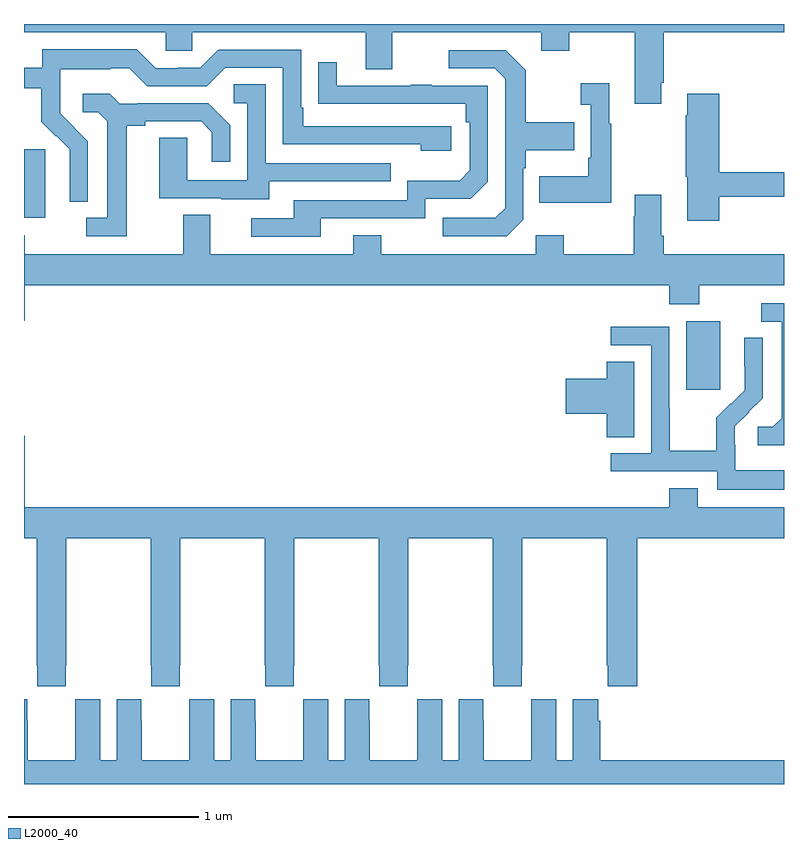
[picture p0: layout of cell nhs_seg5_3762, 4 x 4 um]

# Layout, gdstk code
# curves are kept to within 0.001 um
import gdstk
lib = gdstk.Library(unit=1e-6, precision=1e-09)
def R(c, l, rs):  # rectangles x0, y0, x1, y1
    for r in rs: c.add(gdstk.rectangle(r[:2], r[2:], *l))
def P(c, l, *ps):  # polygons
    for p in ps: c.add(gdstk.Polygon(p, *l))
L2000_40 = (2000, 40)

nhs_seg5_3762 = lib.new_cell('nhs_seg5_3762')
R(nhs_seg5_3762, L2000_40, [(336.485,858.873,336.664,859.234), (333,859.778,333.112,860.139)])
P(nhs_seg5_3762, L2000_40, [(336.355,860.491),(336.368,860.491),(336.368,860.756),(337,860.756),(337,860.799),(333,860.799),(333,860.756),(333.747,860.756),(333.747,860.658),(333.885,860.658),(333.885,860.756),(334.799,860.756),(334.799,860.562),(334.939,860.562),(334.939,860.756),(335.723,860.756),(335.723,860.657),(335.871,860.657),(335.871,860.756),(336.215,860.756),(336.215,860.379),(336.355,860.379)],
  [(333.336,860.182),(333.19,860.33),(333.19,860.427),(333.192,860.427),(333.192,860.561),(333.455,860.561),(333.455,860.565),(333.555,860.565),(333.648,860.472),(333.963,860.472),(334.059,860.568),(334.362,860.568),(334.362,860.166),(335.087,860.166),(335.087,860.132),(335.248,860.132),(335.248,860.262),(334.471,860.262),(334.471,860.359),(334.458,860.359),(334.458,860.664),(334.023,860.664),(333.927,860.568),(333.809,860.568),(333.809,860.565),(333.693,860.565),(333.593,860.665),(333.096,860.665),(333.096,860.568),(333,860.568),(333,860.46),(333.091,860.46),(333.091,860.285),(333.168,860.208),(333.171,860.211),(333.242,860.141),(333.242,860.018),(333.24,860.018),(333.24,859.864),(333.336,859.864)],
  [(335.628,859.77),(335.628,860.039),(335.641,860.039),(335.641,860.135),(335.897,860.135),(335.897,860.283),(335.641,860.283),(335.641,860.555),(335.535,860.661),(335.235,860.661),(335.235,860.565),(335.478,860.565),(335.532,860.511),(335.532,859.83),(335.481,859.779),(335.205,859.779),(335.205,859.683),(335.541,859.683)],
  [(334.561,859.776),(335.112,859.776),(335.112,859.878),(335.352,859.878),(335.442,859.968),(335.442,860.475),(335.147,860.475),(335.147,860.48),(335.035,860.48),(335.035,860.475),(334.645,860.475),(334.645,860.599),(334.549,860.599),(334.549,860.38),(335.326,860.379),(335.326,860.282),(335.346,860.282),(335.346,860.028),(335.293,859.975),(335.016,859.975),(335.016,859.872),(334.421,859.872),(334.421,859.776),(334.197,859.776),(334.197,859.68),(334.561,859.68)],
  [(336.091,860.275),(336.079,860.275),(336.079,860.488),(335.931,860.488),(335.931,860.375),(335.982,860.375),(335.982,860.095),(335.97,860.095),(335.97,859.999),(335.713,859.999),(335.713,859.859),(336.091,859.859)],
  [(334.291,859.971),(334.931,859.971),(334.931,860.067),(334.272,860.067),(334.272,860.483),(334.104,860.483),(334.104,860.382),(334.176,860.382),(334.176,859.977),(333.858,859.977),(333.858,860.201),(333.713,860.201),(333.713,859.881),(334.037,859.881),(334.037,859.877),(334.291,859.877)],
  [(336.659,859.89),(337,859.89),(337,860.018),(336.659,860.018),(336.659,860.431),(336.491,860.431),(336.491,860.318),(336.484,860.318),(336.484,859.995),(336.491,859.995),(336.491,859.764),(336.659,859.764)],
  [(333.541,860.264),(333.637,860.264),(333.637,860.286),(333.932,860.286),(333.989,860.229),(333.989,860.073),(334.086,860.073),(334.086,860.266),(333.97,860.382),(333.598,860.382),(333.598,860.379),(333.504,860.379),(333.452,860.431),(333.309,860.431),(333.309,860.334),(333.39,860.334),(333.437,860.287),(333.437,859.779),(333.327,859.779),(333.327,859.683),(333.541,859.683)],
  [(333.004,859.424),(336.395,859.424),(336.395,859.325),(336.555,859.325),(336.555,859.424),(337,859.424),(337,859.588),(336.368,859.588),(336.368,859.684),(336.355,859.684),(336.355,859.9),(336.215,859.9),(336.215,859.787),(336.208,859.787),(336.208,859.588),(335.841,859.588),(335.841,859.687),(335.694,859.687),(335.694,859.588),(334.881,859.588),(334.881,859.687),(334.733,859.687),(334.733,859.588),(333.979,859.588),(333.979,859.796),(333.839,859.796),(333.839,859.588),(333.003,859.588),(333.003,859.687),(333,859.687),(333,859.236),(333.004,859.236)],
  [(337,859.329),(336.879,859.329),(336.879,859.233),(336.989,859.233),(336.989,858.725),(336.942,858.678),(336.861,858.678),(336.861,858.581),(337,858.581)],
  [(337,858.451),(336.744,858.451),(336.744,858.585),(336.742,858.585),(336.742,858.682),(336.888,858.83),(336.888,859.148),(336.792,859.148),(336.792,858.994),(336.794,858.994),(336.794,858.872),(336.723,858.801),(336.72,858.804),(336.643,858.727),(336.643,858.553),(336.399,858.553),(336.399,858.776),(336.396,858.776),(336.396,859.206),(336.087,859.206),(336.087,859.107),(336.3,859.107),(336.3,858.54),(336.087,858.54),(336.087,858.444),(336.648,858.444),(336.648,858.347),(337,858.347)],
  [(336.211,859.022),(336.068,859.022),(336.068,858.932),(335.85,858.932),(335.85,858.749),(336.068,858.749),(336.068,858.625),(336.211,858.625)],
  [(333.004,858.631),(333,858.631),(333,858.092),(333.067,858.092),(333.067,857.425),(333.069,857.425),(333.069,857.313),(333.219,857.313),(333.219,857.425),(333.222,857.425),(333.222,858.092),(333.667,858.092),(333.667,857.425),(333.669,857.425),(333.669,857.313),(333.819,857.313),(333.819,857.425),(333.822,857.425),(333.822,858.092),(334.267,858.092),(334.267,857.425),(334.269,857.425),(334.269,857.313),(334.419,857.313),(334.419,857.425),(334.422,857.425),(334.422,858.092),(334.867,858.092),(334.867,857.425),(334.869,857.425),(334.869,857.313),(335.019,857.313),(335.019,857.425),(335.022,857.425),(335.022,858.092),(335.467,858.092),(335.467,857.425),(335.469,857.425),(335.469,857.313),(335.619,857.313),(335.619,857.425),(335.622,857.425),(335.622,858.092),(336.067,858.092),(336.067,857.425),(336.073,857.425),(336.073,857.313),(336.227,857.313),(336.227,858.092),(337,858.092),(337,858.256),(336.547,858.256),(336.547,858.355),(336.395,858.355),(336.395,858.256),(333.004,858.256)],
  [(337,856.924),(336.032,856.924),(336.032,857.132),(336.022,857.132),(336.022,857.245),(335.888,857.245),(335.888,856.924),(335.8,856.924),(335.8,857.245),(335.67,857.245),(335.67,857.132),(335.669,857.132),(335.669,856.924),(335.419,856.924),(335.419,857.132),(335.418,857.132),(335.418,857.245),(335.288,857.245),(335.288,856.924),(335.2,856.924),(335.2,857.245),(335.07,857.245),(335.07,857.132),(335.069,857.132),(335.069,856.924),(334.819,856.924),(334.819,857.132),(334.818,857.132),(334.818,857.245),(334.688,857.245),(334.688,856.924),(334.6,856.924),(334.6,857.245),(334.47,857.245),(334.47,857.132),(334.469,857.132),(334.469,856.924),(334.219,856.924),(334.219,857.132),(334.218,857.132),(334.218,857.245),(334.088,857.245),(334.088,856.924),(334,856.924),(334,857.245),(333.87,857.245),(333.87,857.132),(333.869,857.132),(333.869,856.924),(333.619,856.924),(333.619,857.132),(333.618,857.132),(333.618,857.245),(333.488,857.245),(333.488,856.924),(333.4,856.924),(333.4,857.245),(333.27,857.245),(333.27,857.132),(333.269,857.132),(333.269,856.924),(333.019,856.924),(333.019,857.132),(333.018,857.132),(333.018,857.245),(333,857.245),(333,856.799),(337,856.799)])

lib.write_gds('nhs_seg5_3762.gds')
